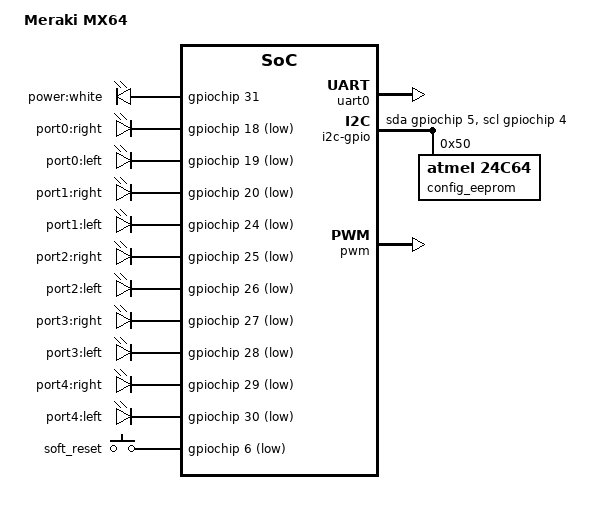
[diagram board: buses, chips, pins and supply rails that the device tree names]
/*
 * Copyright (C) 2014 Meraki, Inc.
 *
 * This program is free software; you can redistribute it and/or modify
 * it under the terms of the GNU General Public License version 2 as
 * published by the Free Software Foundation.
 */

/include/ "iproc.dtsi"

/ {
        model = "Meraki MX64";
        compatible = "meraki,mx6p", "meraki,kingpin", "meraki,wired-arm-nsp",
			"broadcom,iproc", "bcm,iproc";

        gpiochip: gpio-controller@0000 {
            #gpio-cells = <2>;
            compatible = "iproc,iproc-gpio";
            gpio-controller;
        };

        leds {
                compatible = "gpio-leds";
                white {
                        label = "power:white";
                        gpios = <&gpiochip 31 0>;
                        default-state = "off";
                };
                port0right {
                        label = "port0:right";
                        gpios = <&gpiochip 18 1>;
                        default-state = "off";
                };
                port0left {
                        label = "port0:left";
                        gpios = <&gpiochip 19 1>;
                        default-state = "off";
                };
                port1right {
                        label = "port1:right";
                        gpios = <&gpiochip 20 1>;
                        default-state = "off";
                };
                port1left {
                        label = "port1:left";
                        gpios = <&gpiochip 24 1>;
                        default-state = "off";
                };
                port2right {
                        label = "port2:right";
                        gpios = <&gpiochip 25 1>;
                        default-state = "off";
                };
                port2left {
                        label = "port2:left";
                        gpios = <&gpiochip 26 1>;
                        default-state = "off";
                };
                port3right {
                        label = "port3:right";
                        gpios = <&gpiochip 27 1>;
                        default-state = "off";
                };
                port3left {
                        label = "port3:left";
                        gpios = <&gpiochip 28 1>;
                        default-state = "off";
                };
                port4right {
                        label = "port4:right";
                        gpios = <&gpiochip 29 1>;
                        default-state = "off";
                };
                port4left {
                        label = "port4:left";
                        gpios = <&gpiochip 30 1>;
                        default-state = "off";
                };
        };

	gpio-buttons {
		compatible = "gpio-keys-polled";
		autorepeat;
		poll-interval = <20>;
		button@1 {
			label = "soft_reset";
			linux,code = <0x198>;     // EV_RESTART
			linux,input-type = <1>;   // EV_KEY
			debounce-interval = <60>;
			gpios = <&gpiochip 6 1>;
		};
	};

        /* Subtract 32 from all IRQ numbers in device tree */
        intc: interrupt-controller@19021000 {
                interrupt-controller;
                compatible = "arm,cortex-a9-gic";
                #interrupt-cells = <3>;
                #address-cells = <1>;
                reg = <0x19021000 0x1000>,
                <0x19020100 0x100>;
        };

        uart0: uart@18000300 {
                // Required
                compatible = "ns16550A";
                reg = <0x18000300 0x08>;
                clock-frequency = <62500000>;   // uartclkdiv = 2. Kingpin has a higher clock rate.
                interrupts = <0 85 1>;          // non-PPI, 117 - 32, active high edge-triggered
                interrupt-parent = <&intc>;

                // Optional
                reg-shift = <0>;
                reg-offset = <0>;
                reg-io-width = <1>;
        };

        i2c-gpio {
            #address-cells = <1>;
            #size-cells = <0>;
            compatible = "i2c-gpio";
            gpios = <&gpiochip 5 0 /* sda */
                 &gpiochip 4 0>; /* scl */
            i2c-gpio,delay-us = <10>;   /* ~100 kHz */

            config_eeprom: at24@50 {
                compatible = "atmel,24c64";
                pagesize = <32>;
                reg = <0x50>;
            };

        };

        gpio-cfg {
                compatible = "iproc-gpio-cfg";
                gpios-general = <0 1 2 3 4 5 6 16 17 21 22 23 24 25 26 27 28 29 30 31>;
                gpios-aux = <33 34 35>;
                gpios-export = <1 0>, <16 1>, <17 1>;

        };

        pwm: pwm {
                compatible = "iproc-pwm";
                reg = <0x18031000 0x28>;
                #pwm-cells = <2>;
                chan0 {
                        channel = <1>;
                        active_low = <1>;
                };
                chan1 {
                        channel = <2>;
                        active_low = <1>;
                };
                chan2 {
                        channel = <3>;
                        active_low = <1>;
                };
        };

        board-data {
            compatible = "meraki,meraki-config";
            i2c-eeprom = <&config_eeprom>;
        };
};
